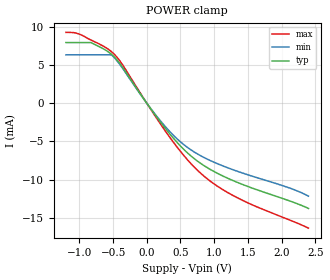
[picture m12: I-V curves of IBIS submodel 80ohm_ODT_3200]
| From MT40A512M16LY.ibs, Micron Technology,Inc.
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| SUBMODEL 80ohm_ODT_3200
[Submodel]   80ohm_ODT_3200
Submodel_type  Dynamic_clamp
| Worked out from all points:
|   POWER clamp passes 1 mA (typ) near -0.08 V on its own axis
[POWER Clamp]
|   Voltage   I(typ)   I(min)   I(max)
-1.2V     7.942mA    6.335mA    9.274mA
-1.045V   7.942mA    6.335mA    9.168mA
-830mV    7.942mA    6.335mA    8.273mA
-515mV    6.329mA    6.259mA    6.677mA
-370mV    4.831mA    4.703mA    5.168mA
0V        40.32nA    37.49nA    44.84nA
310mV     -3.677mA   -3.4mA     -4.07mA
595mV     -6.423mA   -5.723mA   -7.305mA
855mV     -8.192mA   -7.123mA   -9.58mA
1.15V     -9.605mA   -8.271mA   -11.42mA
1.43V     -10.65mA   -9.158mA   -12.74mA
2.4V      -13.76mA   -12.15mA   -16.34mA
